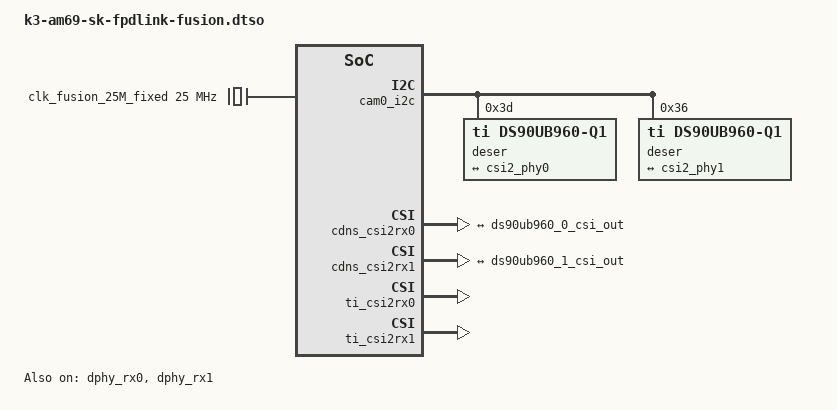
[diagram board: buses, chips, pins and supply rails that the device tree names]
// SPDX-License-Identifier: GPL-2.0
/*
 * DT Overlay for Fusion (FPD-Link III) board on AM69 SK
 * https://svtronics.com/portfolio/evm577pfusion-v1-0-fusion/
 *
 * Copyright (C) 2023 Texas Instruments Incorporated - https://www.ti.com/
 */

/dts-v1/;
/plugin/;

&{/} {
	clk_fusion_25M_fixed: fixed-clock-25M {
		compatible = "fixed-clock";
		#clock-cells = <0>;
		clock-frequency = <25000000>;
	};
};

&pca9543 {
        #address-cells = <1>;
        #size-cells = <0>;

	cam0_i2c: i2c@0 {
		#address-cells = <1>;
		#size-cells = <0>;
		reg = <0>;

		deser@3d {
			compatible = "ti,ds90ub960-q1";
			reg = <0x3d>;
			clocks = <&clk_fusion_25M_fixed>;
			clock-names = "refclk";
			i2c-alias-pool = <0x4a 0x4b 0x4c 0x4d 0x4e 0x4f>;

			ds90ub960_0_ports: ports {
				#address-cells = <1>;
				#size-cells = <0>;

				/* CSI-2 TX*/
				port@4 {
					reg = <4>;
					ds90ub960_0_csi_out: endpoint {
						clock-lanes = <0>;
						data-lanes = <1 2 3 4>;
						link-frequencies = /bits/ 64 <800000000>;
						remote-endpoint = <&csi2_phy0>;
					};
				};
			};

			ds90ub960_0_links: links {
				#address-cells = <1>;
				#size-cells = <0>;
			};
		};

		deser@36 {
			compatible = "ti,ds90ub960-q1";
			reg       = <0x36>;
			clocks = <&clk_fusion_25M_fixed>;
			clock-names = "refclk";
			i2c-alias-pool = <0x5a 0x5b 0x5c 0x5d 0x5e 0x5f>;

			ds90ub960_1_ports: ports {
				#address-cells = <1>;
				#size-cells = <0>;

				/* CSI-2 TX*/
				port@4 {
					reg = <4>;
					ds90ub960_1_csi_out: endpoint {
						clock-lanes = <0>;
						data-lanes = <1 2 3 4>;
						link-frequencies = /bits/ 64 <800000000>;
						remote-endpoint = <&csi2_phy1>;
					};
				};
			};

			ds90ub960_1_links: links {
				#address-cells = <1>;
				#size-cells = <0>;
			};
		};
	};
};

&cdns_csi2rx0 {
	ports {
		port@0 {
			status = "okay";

			csi2_phy0: endpoint {
				remote-endpoint = <&ds90ub960_0_csi_out>;
				clock-lanes = <0>;
				data-lanes = <1 2 3 4>;
				link-frequencies = /bits/ 64 <800000000>;
			};
		};
};	};

&cdns_csi2rx1 {
	ports {
		port@0 {
			status = "okay";

			csi2_phy1: endpoint {
				remote-endpoint = <&ds90ub960_1_csi_out>;
				clock-lanes = <0>;
				data-lanes = <1 2 3 4>;
				link-frequencies = /bits/ 64 <800000000>;
			};
		};
	};
};

&ti_csi2rx0 {
        status = "okay";
};

&ti_csi2rx1 {
        status = "okay";
};

&dphy_rx0 {
        status = "okay";
};

&dphy_rx1 {
        status = "okay";
};
